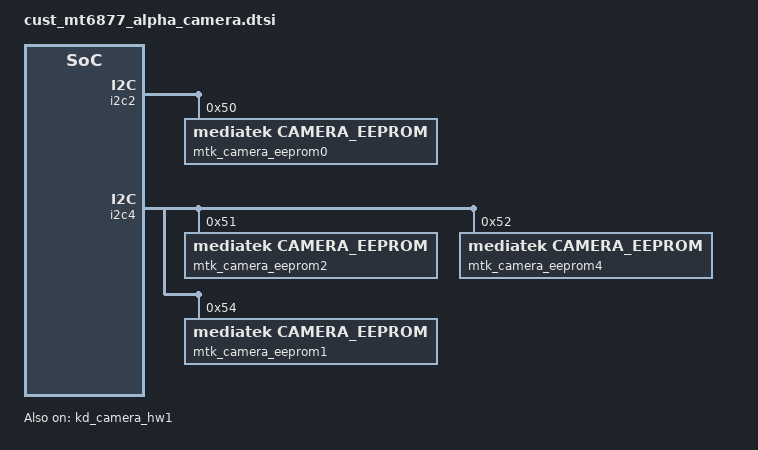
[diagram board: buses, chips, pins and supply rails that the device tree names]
/*
 * Copyright (c) 2019 MediaTek Inc.
 *
 * This program is free software; you can redistribute it and/or modify
 * it under the terms of the GNU General Public License version 2 as
 * published by the Free Software Foundation.
 *
 * This program is distributed in the hope that it will be useful,
 * but WITHOUT ANY WARRANTY; without even the implied warranty of
 * MERCHANTABILITY or FITNESS FOR A PARTICULAR PURPOSE.  See the
 * GNU General Public License for more details.
 */
/* CAMERA GPIO standardization */
&pio {
	camera_pins_cam0_rst_0: cam0@0 {
		pins_cmd_dat {
			pinmux = <PINMUX_GPIO157__FUNC_GPIO157>;
			slew-rate = <1>;
			output-low;
		};
	};
	camera_pins_cam0_rst_1: cam0@1 {
		pins_cmd_dat {
			pinmux = <PINMUX_GPIO157__FUNC_GPIO157>;
			slew-rate = <1>;
			output-high;
		};
	};

	camera_pins_cam1_rst_0: cam1@0 {
		pins_cmd_dat {
			pinmux = <PINMUX_GPIO155__FUNC_GPIO155>;
			slew-rate = <1>;
			output-low;
		};
	};
	camera_pins_cam1_rst_1: cam1@1 {
		pins_cmd_dat {
			pinmux = <PINMUX_GPIO155__FUNC_GPIO155>;
			slew-rate = <1>;
			output-high;
		};
	};

	camera_pins_cam2_rst_0: cam2@0 {
		pins_cmd_dat {
			pinmux = <PINMUX_GPIO159__FUNC_GPIO159>;
			slew-rate = <1>;
			output-low;
		};
	};
	camera_pins_cam2_rst_1: cam2@1 {
		pins_cmd_dat {
			pinmux = <PINMUX_GPIO159__FUNC_GPIO159>;
			slew-rate = <1>;
			output-high;
		};
	};

	camera_pins_cam4_rst_0: cam4@0 {
		pins_cmd_dat {
			pinmux = <PINMUX_GPIO161__FUNC_GPIO161>;
			slew-rate = <1>;
			output-low;
		};
	};
	camera_pins_cam4_rst_1: cam4@1 {
		pins_cmd_dat {
			pinmux = <PINMUX_GPIO161__FUNC_GPIO161>;
			slew-rate = <1>;
			output-high;
		};
	};

	camera_pins_cam0_vcamd_0: cam0@vcam0 {
		pins_cmd_dat {
			pinmux = <PINMUX_GPIO154__FUNC_GPIO154>;
			slew-rate = <1>;
			output-low;
		};
	};
	camera_pins_cam0_vcamd_1: cam0@vcam1 {
		pins_cmd_dat {
			pinmux = <PINMUX_GPIO154__FUNC_GPIO154>;
			slew-rate = <1>;
			output-high;
		};
	};
	camera_pins_cam0_mclk_off: camera_pins_cam0_mclk_off {
		pins_cmd_dat {
			pinmux = <PINMUX_GPIO150__FUNC_GPIO150>;
			drive-strength = <1>;
		};
	};
	camera_pins_cam0_mclk_2ma: camera_pins_cam0_mclk_2ma {
		pins_cmd_dat {
			pinmux = <PINMUX_GPIO150__FUNC_CMMCLK1>;
			drive-strength = <0>;
		};
	};
	camera_pins_cam0_mclk_4ma: camera_pins_cam0_mclk_4ma {
		pins_cmd_dat {
			pinmux = <PINMUX_GPIO150__FUNC_CMMCLK1>;
			drive-strength = <1>;
		};
	};
	camera_pins_cam0_mclk_6ma: camera_pins_cam0_mclk_6ma {
		pins_cmd_dat {
			pinmux = <PINMUX_GPIO150__FUNC_CMMCLK1>;
			drive-strength = <2>;
		};
	};
	camera_pins_cam0_mclk_8ma: camera_pins_cam0_mclk_8ma {
		pins_cmd_dat {
			pinmux = <PINMUX_GPIO150__FUNC_CMMCLK1>;
			drive-strength = <3>;
		};
	};
	camera_pins_cam1_mclk_off: camera_pins_cam1_mclk_off {
		pins_cmd_dat {
			pinmux = <PINMUX_GPIO153__FUNC_GPIO153>;
			drive-strength = <1>;
		};
	};
	camera_pins_cam1_mclk_2ma: camera_pins_cam1_mclk_2ma {
		pins_cmd_dat {
			pinmux = <PINMUX_GPIO153__FUNC_CMMCLK4>;
			drive-strength = <0>;
		};
	};
	camera_pins_cam1_mclk_4ma: camera_pins_cam1_mclk_4ma {
		pins_cmd_dat {
			pinmux = <PINMUX_GPIO153__FUNC_CMMCLK4>;
			drive-strength = <1>;
		};
	};
	camera_pins_cam1_mclk_6ma: camera_pins_cam1_mclk_6ma {
		pins_cmd_dat {
			pinmux = <PINMUX_GPIO153__FUNC_CMMCLK4>;
			drive-strength = <2>;
		};
	};
	camera_pins_cam1_mclk_8ma: camera_pins_cam1_mclk_8ma {
		pins_cmd_dat {
			pinmux = <PINMUX_GPIO153__FUNC_CMMCLK4>;
			drive-strength = <3>;
		};
	};
	camera_pins_cam2_mclk_off: camera_pins_cam2_mclk_off {
		pins_cmd_dat {
			pinmux = <PINMUX_GPIO149__FUNC_GPIO149>;
			drive-strength = <1>;
		};
	};
	camera_pins_cam2_mclk_2ma: camera_pins_cam2_mclk_2ma {
		pins_cmd_dat {
			pinmux = <PINMUX_GPIO149__FUNC_CMMCLK0>;
			drive-strength = <0>;
		};
	};
	camera_pins_cam2_mclk_4ma: camera_pins_cam2_mclk_4ma {
		pins_cmd_dat {
			pinmux = <PINMUX_GPIO149__FUNC_CMMCLK0>;
			drive-strength = <1>;
		};
	};
	camera_pins_cam2_mclk_6ma: camera_pins_cam2_mclk_6ma {
		pins_cmd_dat {
			pinmux = <PINMUX_GPIO149__FUNC_CMMCLK0>;
			drive-strength = <2>;
		};
	};
	camera_pins_cam2_mclk_8ma: camera_pins_cam2_mclk_8ma {
		pins_cmd_dat {
			pinmux = <PINMUX_GPIO149__FUNC_CMMCLK0>;
			drive-strength = <3>;
		};
	};
	camera_pins_cam4_mclk_off: camera_pins_cam4_mclk_off {
		pins_cmd_dat {
			pinmux = <PINMUX_GPIO151__FUNC_GPIO151>;
			drive-strength = <1>;
		};
	};
	camera_pins_cam4_mclk_2ma: camera_pins_cam4_mclk_2ma {
		pins_cmd_dat {
			pinmux = <PINMUX_GPIO151__FUNC_CMMCLK2>;
			drive-strength = <0>;
		};
	};
	camera_pins_cam4_mclk_4ma: camera_pins_cam4_mclk_4ma {
		pins_cmd_dat {
			pinmux = <PINMUX_GPIO151__FUNC_CMMCLK2>;
			drive-strength = <1>;
		};
	};
	camera_pins_cam4_mclk_6ma: camera_pins_cam4_mclk_6ma {
		pins_cmd_dat {
			pinmux = <PINMUX_GPIO151__FUNC_CMMCLK2>;
			drive-strength = <2>;
		};
	};
	camera_pins_cam4_mclk_8ma: camera_pins_cam4_mclk_8ma {
		pins_cmd_dat {
			pinmux = <PINMUX_GPIO151__FUNC_CMMCLK2>;
			drive-strength = <3>;
		};
	};
	camera_pins_default: camdefault {
	};
};
&kd_camera_hw1 {
	pinctrl-names = "default",
			"cam0_rst0", "cam0_rst1",
			"cam1_rst0", "cam1_rst1",
			"cam2_rst0", "cam2_rst1",
			"cam4_rst0", "cam4_rst1",
			"cam0_ldo_vcamd_0", "cam0_ldo_vcamd_1",
			"cam0_mclk_off",
			"cam0_mclk_2mA", "cam0_mclk_4mA",
			"cam0_mclk_6mA", "cam0_mclk_8mA",
			"cam1_mclk_off",
			"cam1_mclk_2mA", "cam1_mclk_4mA",
			"cam1_mclk_6mA", "cam1_mclk_8mA",
			"cam2_mclk_off",
			"cam2_mclk_2mA", "cam2_mclk_4mA",
			"cam2_mclk_6mA", "cam2_mclk_8mA",
			"cam4_mclk_off",
			"cam4_mclk_2mA", "cam4_mclk_4mA",
			"cam4_mclk_6mA", "cam4_mclk_8mA";
	pinctrl-0 = <&camera_pins_default>;
	pinctrl-1 = <&camera_pins_cam0_rst_0>;
	pinctrl-2 = <&camera_pins_cam0_rst_1>;
	pinctrl-3 = <&camera_pins_cam1_rst_0>;
	pinctrl-4 = <&camera_pins_cam1_rst_1>;
	pinctrl-5 = <&camera_pins_cam2_rst_0>;
	pinctrl-6 = <&camera_pins_cam2_rst_1>;
	pinctrl-7 = <&camera_pins_cam4_rst_0>;
	pinctrl-8 = <&camera_pins_cam4_rst_1>;
	pinctrl-9 = <&camera_pins_cam0_vcamd_0>;
	pinctrl-10 = <&camera_pins_cam0_vcamd_1>;

	pinctrl-11 = <&camera_pins_cam0_mclk_off>;
	pinctrl-12 = <&camera_pins_cam0_mclk_2ma>;
	pinctrl-13 = <&camera_pins_cam0_mclk_4ma>;
	pinctrl-14 = <&camera_pins_cam0_mclk_6ma>;
	pinctrl-15 = <&camera_pins_cam0_mclk_8ma>;
	pinctrl-16 = <&camera_pins_cam1_mclk_off>;
	pinctrl-17 = <&camera_pins_cam1_mclk_2ma>;
	pinctrl-18 = <&camera_pins_cam1_mclk_4ma>;
	pinctrl-19 = <&camera_pins_cam1_mclk_6ma>;
	pinctrl-20 = <&camera_pins_cam1_mclk_8ma>;
	pinctrl-21 = <&camera_pins_cam2_mclk_off>;
	pinctrl-22 = <&camera_pins_cam2_mclk_2ma>;
	pinctrl-23 = <&camera_pins_cam2_mclk_4ma>;
	pinctrl-24 = <&camera_pins_cam2_mclk_6ma>;
	pinctrl-25 = <&camera_pins_cam2_mclk_8ma>;
	pinctrl-26 = <&camera_pins_cam4_mclk_off>;
	pinctrl-27 = <&camera_pins_cam4_mclk_2ma>;
	pinctrl-28 = <&camera_pins_cam4_mclk_4ma>;
	pinctrl-29 = <&camera_pins_cam4_mclk_6ma>;
	pinctrl-30 = <&camera_pins_cam4_mclk_8ma>;

	cam0_vcamio-supply = <&mt_pmic_vcamio_ldo_reg>;
	cam1_vcamio-supply = <&mt_pmic_vcamio_ldo_reg>;
	cam2_vcamio-supply = <&mt_pmic_vcamio_ldo_reg>;
	cam4_vcamio-supply = <&mt_pmic_vcamio_ldo_reg>;

	cam0_enable_sensor = "ov64b_mipi_raw";
	cam1_enable_sensor = "imx615_mipi_raw";
	cam2_enable_sensor = "imx355_mipi_raw";
	cam4_enable_sensor = "ov02b10_mipi_raw";

	status = "okay";
};
/* CAMERA GPIO end */

/* CAMERA EEPROM */
&i2c2 {
	mtk_camera_eeprom0:camera_eeprom0@50 {
		compatible = "mediatek,camera_eeprom";
		reg = <0x50>;
		status = "okay";
	};
};
&i2c4 {
	mtk_camera_eeprom2:camera_eeprom2@51 {
		compatible = "mediatek,camera_eeprom";
		reg = <0x51>;
		status = "okay";
	};
	mtk_camera_eeprom4:camera_eeprom4@52 {
		compatible = "mediatek,camera_eeprom";
		reg = <0x52>;
		status = "okay";
	};
	mtk_camera_eeprom1:camera_eeprom1@54 {
		compatible = "mediatek,camera_eeprom";
		reg = <0x54>;
		status = "okay";
	};
};
/* CAMERA EEPROM end */
